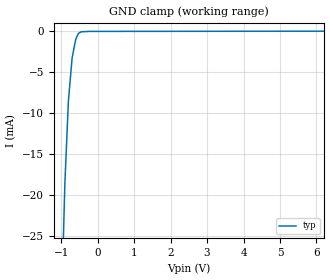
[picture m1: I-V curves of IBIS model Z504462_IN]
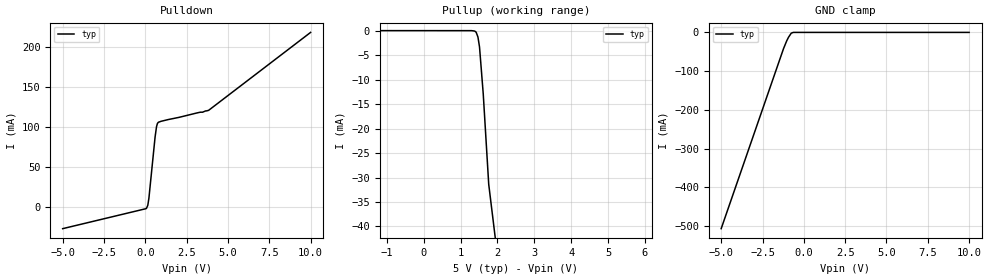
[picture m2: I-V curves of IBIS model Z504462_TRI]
| YOU ARE ONLY AUTHORIZED TO USE THIS SOFTWARE
| ACCORDING TO LICENSOR'S LICENSE RESTRICTIONS.
[IBIS Ver] 3.1
[File Name] sn54ls540j.ibs
[File Rev] 2.0
[Source] Measured and created by ICX Technology
[Date] Friday 7/14/00 9:08:15 AM
[Copyright]
| (C) COPYRIGHT 1993-2000
| MENTOR GRAPHICS CORPORATION
| ICX STANDARD LIBRARY, ICX PROJECT MODELING,
| ICX CUSTOM MODELING, ICX VENDOR MODEL
| ALL RIGHTS RESERVED.
| THE FOLLOWING ARE TRADEMARKS OR SERVICE MARKS OF
| MENTOR GRAPHICS CORPORATION:ICX (R), ICX STANDARD
| LIBRARY(R), ICX PROJECT MODELING(R), ICX CUSTOM
| MODELING(R), qualityIBIS(TM), MODELVIEWER(TM),
| AND MODELEDITOR(TM)
| ALL COPIES OF SOFTWARE, INCLUDING BUT NOT LIMITED TO
| ANY MODIFICATIONS, ENHANCEMENTS OR DERIVATIVE WORKS,
| MUST CONTAIN ALL MENTOR GRAPHICS CORPORATION'S
| NOTICES AND LEGENDS, INCLUDING THOSE EMBEDDED IN
| SOFTWARE AND THOSE AFFIXED TO SOFTWARE MEDIUM
| AND CONTAINER, AS RECEIVED FROM MENTOR GRAPHICS
| CORPORATION.
|  ZAP Model Builder 2.7
[Component] SN54LS540J
[Manufacturer] OnSemiconductor
[Package]
| variable   typ   min   max
R_pkg  .216ohms NA NA
L_pkg  5.76nH NA NA
C_pkg  2.193pF NA NA
[Pin] signal_name  model_name  R_pin  L_pin C_pin
1 _G1 Z504462_IN .232 9.76n 3.179p
2 A0 Z504462_IN .224 7.26n 2.686p
3 A1 Z504462_IN .216 5.26n 2.193p
4 A2 Z504462_IN .208 3.76n 1.7p
5 A3 Z504462_IN .2 2.76n 1.207p
6 A4 Z504462_IN .2 2.76n 1.207p
7 A5 Z504462_IN .208 3.76n 1.7p
8 A6 Z504462_IN .216 5.26n 2.193p
9 A7 Z504462_IN .224 7.26n 2.686p
10 GND GND .232 9.76n 3.179p
11 _Y7 Z504462_TRI .232 9.76n 3.179p
12 _Y6 Z504462_TRI .224 7.26n 2.686p
13 _Y5 Z504462_TRI .216 5.26n 2.193p
14 _Y4 Z504462_TRI .208 3.76n 1.7p
15 _Y3 Z504462_TRI .2 2.76n 1.207p
16 _Y2 Z504462_TRI .2 2.76n 1.207p
17 _Y1 Z504462_TRI .208 3.76n 1.7p
18 _Y0 Z504462_TRI .216 5.26n 2.193p
19 _G2 Z504462_IN .224 7.26n 2.686p
20 VCC POWER .232 9.76n 3.179p
| Models and submodels in the file (2): Z504462_IN (Input), Z504462_TRI (3-state)
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| (C) COPYRIGHT 1993-2000
| MENTOR GRAPHICS CORPORATION
| ICX STANDARD LIBRARY, ICX PROJECT MODELING,
| ICX CUSTOM MODELING, ICX VENDOR MODEL
| ALL RIGHTS RESERVED.
| THE FOLLOWING ARE TRADEMARKS OR SERVICE MARKS OF
| MENTOR GRAPHICS CORPORATION:ICX (R), ICX STANDARD
| LIBRARY(R), ICX PROJECT MODELING(R), ICX CUSTOM
| MODELING(R), qualityIBIS(TM), MODELVIEWER(TM),
| AND MODELEDITOR(TM)
| ALL COPIES OF SOFTWARE, INCLUDING BUT NOT LIMITED TO
| ANY MODIFICATIONS, ENHANCEMENTS OR DERIVATIVE WORKS,
| MUST CONTAIN ALL MENTOR GRAPHICS CORPORATION'S
| NOTICES AND LEGENDS, INCLUDING THOSE EMBEDDED IN
| SOFTWARE AND THOSE AFFIXED TO SOFTWARE MEDIUM
| AND CONTAINER, AS RECEIVED FROM MENTOR GRAPHICS
| CORPORATION.
| Model Application Version 1.89 2/18/99.
[Model] Z504462_IN
Model_type Input
Vinl = 800.0mV
Vinh = 2.000V
C_comp 4.000pF NA NA
| variable typ   min   max
[Voltage Range] 5.000V NA NA
[GND Clamp Reference] 0.000V NA NA
[POWER Clamp Reference] 5.000V NA NA
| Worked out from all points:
|   GND clamp passes 1 mA (typ) near -0.60 V on its own axis
[GND Clamp]
-5V       -695.9mA   NA         NA
-897.8mV  -18.68mA   NA         NA
-800.6mV  -8.54mA    NA         NA
-698.1mV  -3.241mA   NA         NA
-600.2mV  -995.9uA   NA         NA
-527.4mV  -275.4uA   NA         NA
-448.8mV  -71uA      NA         NA
-224.4mV  -20.74uA   NA         NA
10V       16.79uA    NA         NA
[POWER Clamp]
-5V       0A         NA         NA
10V       0A         NA         NA
| (C) COPYRIGHT 1993-2000
| MENTOR GRAPHICS CORPORATION
| ICX STANDARD LIBRARY, ICX PROJECT MODELING,
| ICX CUSTOM MODELING, ICX VENDOR MODEL
| ALL RIGHTS RESERVED.
| THE FOLLOWING ARE TRADEMARKS OR SERVICE MARKS OF
| MENTOR GRAPHICS CORPORATION:ICX (R), ICX STANDARD
| LIBRARY(R), ICX PROJECT MODELING(R), ICX CUSTOM
| MODELING(R), qualityIBIS(TM), MODELVIEWER(TM),
| AND MODELEDITOR(TM)
| ALL COPIES OF SOFTWARE, INCLUDING BUT NOT LIMITED TO
| ANY MODIFICATIONS, ENHANCEMENTS OR DERIVATIVE WORKS,
| MUST CONTAIN ALL MENTOR GRAPHICS CORPORATION'S
| NOTICES AND LEGENDS, INCLUDING THOSE EMBEDDED IN
| SOFTWARE AND THOSE AFFIXED TO SOFTWARE MEDIUM
| AND CONTAINER, AS RECEIVED FROM MENTOR GRAPHICS
| CORPORATION.
| Model Application Version 1.89 2/18/99.
[Model] Z504462_TRI
Model_type 3-state
Vref=588.0mV
Rref=588.5ohms
Cref=45.00pF
Vmeas=1.300V
C_comp 8.000pF NA NA
| variable typ   min   max
[Voltage Range] 5.000V NA NA
[POWER Clamp Reference] 5.000V NA NA
[Pullup Reference] 5.000V NA NA
[Pulldown Reference] 0.000V NA NA
[GND Clamp Reference] 0.000V NA NA
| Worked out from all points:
|   slope of the pulldown table from 0 to 0.75 V, typ, clamps not added: 7 ohm
|   GND clamp passes 1 mA (typ) near -0.70 V on its own axis
[GND Clamp]
-5V       -506.7mA   NA         NA
-1.23V    -42.16mA   NA         NA
-1.035V   -21.81mA   NA         NA
-927.7mV  -12.71mA   NA         NA
-761.6mV  -2.003mA   NA         NA
-634.7mV  0A         NA         NA
10V       0A         NA         NA
[Pulldown]
-5V       -26.95mA   NA         NA
69.43mV   -1.584mA   NA         NA
149.9mV   2.247mA    NA         NA
217.2mV   11.12mA    NA         NA
590.8mV   87.64mA    NA         NA
678.7mV   100.7mA    NA         NA
732.6mV   104.6mA    NA         NA
790.9mV   106.1mA    NA         NA
3.828V    121mA      NA         NA
10V       218.5mA    NA         NA
[Pullup]
-5V       16.68uA    NA         NA
1.302V    867.5nA    NA         NA
1.383V    -87.58uA   NA         NA
1.421V    -313.2uA   NA         NA
1.47V     -1.295mA   NA         NA
1.513V    -3.323mA   NA         NA
1.614V    -12.91mA   NA         NA
1.763V    -31.4mA    NA         NA
10V       -538.9mA   NA         NA
[POWER Clamp]
-5V       0A         NA         NA
10V       0A         NA         NA
[Ramp]
| variable typ min max
dV/dt_r 2.010/4.247n NA NA
dV/dt_f 2.010/2.741n NA NA
R_load = 500.0Ohms
